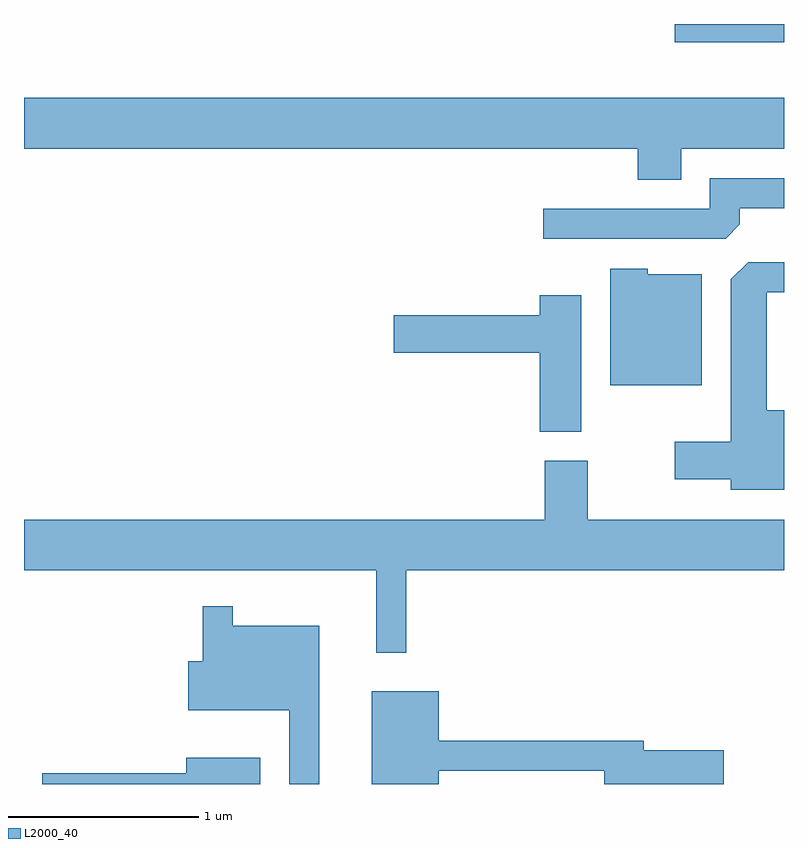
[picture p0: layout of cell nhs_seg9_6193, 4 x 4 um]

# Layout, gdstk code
import gdstk
lib = gdstk.Library(unit=1e-6, precision=1e-09)
def R(c, l, rs):  # rectangles x0, y0, x1, y1
    for r in rs: c.add(gdstk.rectangle(r[:2], r[2:], *l))
def P(c, l, *ps):  # polygons
    for p in ps: c.add(gdstk.Polygon(p, *l))
L2000_40 = (2000, 40)

nhs_seg9_6193 = lib.new_cell('nhs_seg9_6193')
R(nhs_seg9_6193, L2000_40, [(371.036,2032.336,371.611,2032.432)])
P(nhs_seg9_6193, L2000_40, [(371.069,2031.776),(371.611,2031.776),(371.611,2032.044),(367.611,2032.044),(367.611,2031.776),(370.841,2031.776),(370.841,2031.611),(371.069,2031.611)],
  [(371.379,2031.377),(371.379,2031.461),(371.611,2031.461),(371.611,2031.619),(371.221,2031.619),(371.221,2031.459),(370.343,2031.459),(370.343,2031.301),(371.304,2031.301)],
  [(371.611,2030.399),(371.519,2030.399),(371.519,2031.021),(371.611,2031.021),(371.611,2031.179),(371.422,2031.179),(371.331,2031.089),(371.331,2030.234),(371.036,2030.234),(371.036,2030.036),(371.331,2030.036),(371.331,2029.981),(371.611,2029.981)],
  [(371.179,2031.114),(370.894,2031.114),(370.894,2031.144),(370.696,2031.144),(370.696,2030.531),(371.179,2030.531)],
  [(370.544,2031.004),(370.326,2031.004),(370.326,2030.899),(369.556,2030.899),(369.556,2030.701),(370.326,2030.701),(370.326,2030.286),(370.544,2030.286)],
  [(369.624,2029.556),(371.611,2029.556),(371.611,2029.824),(370.579,2029.824),(370.579,2030.134),(370.351,2030.134),(370.351,2029.824),(367.611,2029.824),(367.611,2029.556),(369.466,2029.556),(369.466,2029.123),(369.624,2029.123)],
  [(369.164,2029.264),(368.709,2029.264),(368.709,2029.368),(368.551,2029.368),(368.551,2029.079),(368.476,2029.079),(368.476,2028.821),(369.006,2028.821),(369.006,2028.432),(369.164,2028.432)],
  [(369.794,2028.501),(370.666,2028.501),(370.666,2028.432),(371.294,2028.432),(371.294,2028.609),(370.874,2028.609),(370.874,2028.659),(369.794,2028.659),(369.794,2028.919),(369.441,2028.919),(369.441,2028.432),(369.794,2028.432)],
  [(368.854,2028.569),(368.466,2028.569),(368.466,2028.489),(367.706,2028.489),(367.706,2028.432),(368.854,2028.432)])

lib.write_gds('nhs_seg9_6193.gds')
